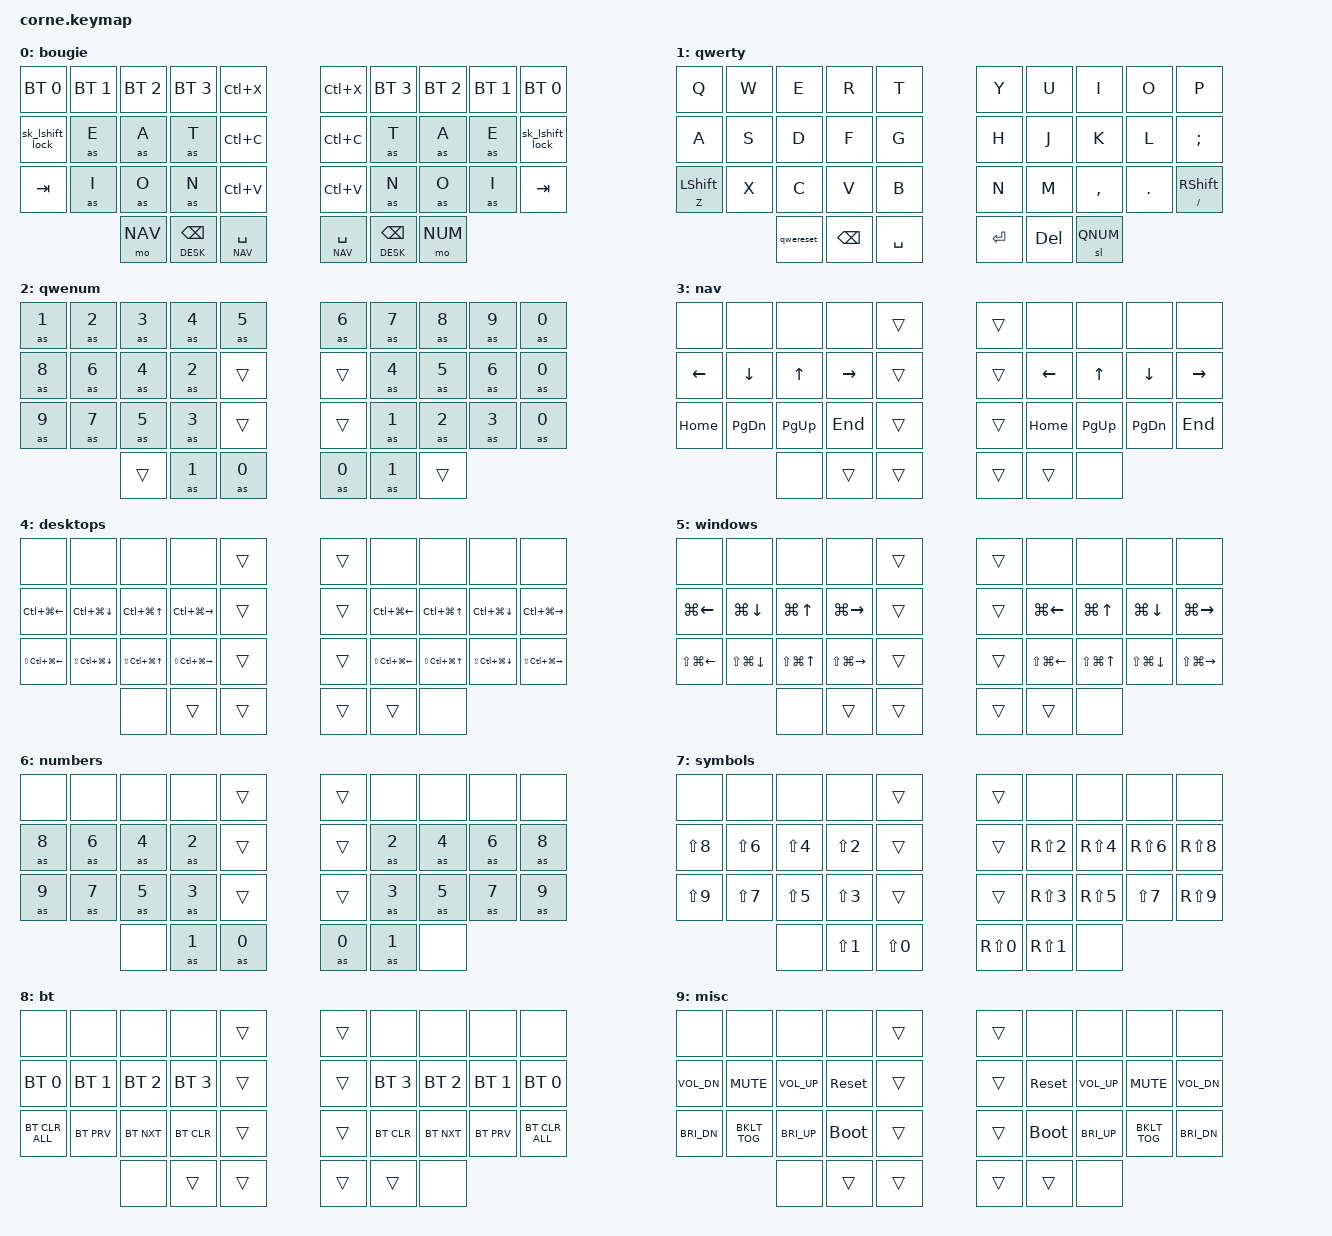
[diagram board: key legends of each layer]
/*

    Copyright (c) 2020 The ZMK Contributors

    SPDX-License-Identifier: MIT
    TODO: soft_off wake behavior
    */

#include <behaviors.dtsi>
#include <dt-bindings/zmk/bt.h>
#include <dt-bindings/zmk/keys.h>
#include <dt-bindings/zmk/pointing.h>

// NOT BOUGIE KEYS
// LEFT SIDE
#define LB0 0
#define LB1 1
#define LB2 2
#define LB3 3
#define LCX 4
#define LCC 14
#define LCV 24
// RIGHT SIDE
#define RB0 9
#define RB1 8
#define RB2 7
#define RB3 6
#define RCX 5
#define RCC 15
#define RCV 25

// BOUGIE KEYS
// LEFT SIDE
#define TLP 10
#define TLR 11
#define TLM 12
#define TLI 13
#define BLP 20
#define BLR 21
#define BLM 22
#define BLI 23
#define LOT 32
#define LIT 31

// RIGHT SIDE
#define TRP 19
#define TRR 18
#define TRM 17
#define TRI 16
#define BRP 29
#define BRR 28
#define BRM 27
#define BRI 26
#define ROT 33
#define RIT 34

// LAYERS
#define DEF  0
#define QWE  1
#define QNUM 2
#define NAV  3
#define DESK 4
#define WIN  5
#define NUM  6
#define SYM  7
#define BT   8
#define MISC 9

// CONFIG
#define COMBO_TIMEOUT 70
#define COMBO_LAYERS DEF NAV NUM DESK WIN SYM BT MISC
#define STICKY_TIMEOUT 1000
#define HOLD_TAP_TIMEOUT 190

// BEHAVIOR REDEFINITIONS

&sk {
    release-after-ms = <STICKY_TIMEOUT>;
    quick-release;
    /delete-property/ ignore-modifiers;
};

&sl {
    release-after-ms = <STICKY_TIMEOUT>;
    quick-release;
    /delete-property/ ignore-modifiers;
};

&lt {
    #binding-cells = <2>;
    bindings = <&mo>, <&kp>;
    tapping-term-ms = <HOLD_TAP_TIMEOUT>;
    quick-tap-ms = <HOLD_TAP_TIMEOUT>;
    hold-while-undecided;
};
// MAIN NODE

/ {
    chosen { zmk,matrix_transform = &five_column_transform; };

    combos {
        compatible = "zmk,combos";

#define LOCOMBO(NAME, BINDINGS, KEYPOS) \
combo_l_##NAME { \
	timeout-ms = <COMBO_TIMEOUT>; \
	bindings = <BINDINGS>; \
	key-positions = <KEYPOS>; \
	layers = <COMBO_LAYERS>; \
}; \

#define LTCOMBO(NAME, OUTER_BINDINGS, INNER_BINDINGS, BOTH_BINDINGS, KEYPOS) \
combo_li_##NAME { \
	timeout-ms = <COMBO_TIMEOUT>; \
	bindings = <INNER_BINDINGS>; \
	key-positions = <KEYPOS LIT>; \
	layers = <COMBO_LAYERS>; \
}; \
combo_lo_##NAME { \
	timeout-ms = <COMBO_TIMEOUT>; \
	bindings = <OUTER_BINDINGS>; \
	key-positions = <KEYPOS LOT>; \
	layers = <COMBO_LAYERS>; \
}; \
combo_lb_##NAME { \
	timeout-ms = <COMBO_TIMEOUT>; \
	bindings = <BOTH_BINDINGS>; \
	key-positions = <KEYPOS LIT LOT>; \
	layers = <COMBO_LAYERS>; \
};

#define ROCOMBO(NAME, BINDINGS, KEYPOS) \
combo_r_##NAME { \
	timeout-ms = <COMBO_TIMEOUT>; \
	bindings = <BINDINGS>; \
	key-positions = <KEYPOS>; \
	layers = <COMBO_LAYERS>; \
}; \

#define RTCOMBO(NAME, OUTER_BINDINGS, INNER_BINDINGS, BOTH_BINDINGS, KEYPOS) \
combo_ri_##NAME { \
	timeout-ms = <COMBO_TIMEOUT>; \
	bindings = <INNER_BINDINGS>; \
	key-positions = <KEYPOS RIT>; \
	layers = <COMBO_LAYERS>; \
}; \
combo_ro_##NAME { \
	timeout-ms = <COMBO_TIMEOUT>; \
	bindings = <OUTER_BINDINGS>; \
	key-positions = <KEYPOS ROT>; \
	layers = <COMBO_LAYERS>; \
}; \
combo_rb_##NAME { \
	timeout-ms = <COMBO_TIMEOUT>; \
	bindings = <BOTH_BINDINGS>; \
	key-positions = <KEYPOS RIT ROT>; \
	layers = <COMBO_LAYERS>; \
};

#define TCOMBO(NAME, OUTER_BINDINGS, INNER_BINDINGS, BOTH_BINDINGS, LEFT_KEYPOS, RIGHT_KEYPOS) \
LTCOMBO(##NAME, ##OUTER_BINDINGS, ##INNER_BINDINGS, ##BOTH_BINDINGS, ##LEFT_KEYPOS) \
RTCOMBO(##NAME, ##OUTER_BINDINGS, ##INNER_BINDINGS, ##BOTH_BINDINGS, ##RIGHT_KEYPOS)

#define FCOMBO(NAME, BINDINGS, OUTER_BINDINGS, INNER_BINDINGS, BOTH_BINDINGS, LEFT_KEYPOS, RIGHT_KEYPOS) \
LOCOMBO(##NAME, ##BINDINGS, ##LEFT_KEYPOS) \
ROCOMBO(##NAME, ##BINDINGS, ##RIGHT_KEYPOS) \
TCOMBO(##NAME, ##OUTER_BINDINGS, ##INNER_BINDINGS, ##BOTH_BINDINGS, ##LEFT_KEYPOS, ##RIGHT_KEYPOS)

//** COMBOS **//
LTCOMBO(TP, &kp LEFT, &as N8, &as F8, TLP)
RTCOMBO(TP, &kp RIGHT, &as N8, &as F8, TRP)
TCOMBO(E, &kp DOWN, &as N6, &as F6, TLR, TRR)
TCOMBO(A, &kp UP, &as N4, &as F4, TLM, TRM)
LTCOMBO(T, &kp RIGHT, &as N2, &as F2, TLI)
RTCOMBO(T, &kp LEFT, &as N2, &as F2, TRI)
LTCOMBO(TAB, &kp END, &as N9, &as F9, BLP)
RTCOMBO(TAB, &kp HOME, &as N9, &as F9, BRP)
TCOMBO(I, &kp PG_DN, &as N7, &as F7, BLR, BRR)
TCOMBO(O, &kp PG_UP, &as N5, &as F5, BLM, BRM)
LTCOMBO(N, &kp HOME, &as N3, &as F3, BLI)
RTCOMBO(N, &kp END, &as N3, &as F3, BRI)
FCOMBO(RALT,       &sk_ralt_lock,      &kp GT,                &kp LT,                &bt BT_SEL 0,           TLP BLP,                           TRP BRP)
FCOMBO(LALT,       &sk_lalt_lock,      &kp RBRC,              &kp LBRC,              &bt BT_SEL 1,           TLR BLR,                           TRR BRR)
FCOMBO(LCTRL,      &sk_lctrl_lock,     &kp RBKT,              &kp LBKT,              &bt BT_SEL 2,           TLM BLM,                           TRM BRM)
FCOMBO(LMETA,      &sk_lmeta_lock,     &kp RPAR,              &kp LPAR,              &bt BT_SEL 3,           TLI BLI,                           TRI BRI)
FCOMBO(MOUSEL,     &mkp LCLK,          &none, 				  &none,                 &none,                  TLP TLI,                           TRP TRI)
FCOMBO(MOUSEM,     &mkp MCLK,          &none, 				  &none,                 &none,                  TLP TLM,                           TRP BRM)
FCOMBO(MOUSER,     &mkp RCLK,          &none, 				  &none,                 &none,                  TLP TLR,                           TRP TRM)
FCOMBO(H,          &as H,              &kp AMPS,              &kp PIPE,              &as F11,                TLR TLM,                           TRR TRM)
FCOMBO(S,          &as S,              &kp EQUAL,             &kp PLUS,              &as F9,                 TLR TLI,                           TRR TRI)
FCOMBO(R,          &as R,              &kp ASTERISK,          &as N0,                &as F10,                TLM TLI,                           TRM TRI)
FCOMBO(U,          &as U,              &kp AT,                &kp AT,                &as F15,                BLR BLM,                           BRR BRM)
FCOMBO(C,          &as C,              &caps_word,            &kp CAPS,              &as F14,                BLR BLI,                           BRR BRI)
FCOMBO(L,          &as L,              &kp CARET,             &kp N1,                &as F12,                BLM BLI,                           BRM BRI)
FCOMBO(Y,          &as Y,              &kp HASH,              &kp LS(RA(SEMI)),      &as F21,                TLR BLM,                           TRR BRM)
FCOMBO(G,          &as G,              &kp DOLLAR,            &kp RA(N5),            &as F18,                BLR TLM,                           BRR TRM)
FCOMBO(W,          &as W,              &kp PERCENT,           &kp RA(SEMI),          &as F20,                TLR BLI,                           TRR BRI)
FCOMBO(M,          &as M,              &kp SLASH,             &kp BSLH,              &as F16,                BLR TLI,                           BRR TRI)
FCOMBO(D,          &as D,              &kp PRINTSCREEN,       &kp LS(PRINTSCREEN),   &as F13,                TLM BLI,                           TRM BRI)
FCOMBO(F,          &as F,              &sk_lshift_lock,       &sk_lshift_lock,       &as F17,                BLM TLI,                           BRM TRI)
FCOMBO(APOS,       &kp APOS,           &kp DQT,               &kp GRAVE,             &tqt,                   TLR BLR TLM,                       TRR BRR TRM)
FCOMBO(COMMA,      &kp COMMA,          &kp QMARK,             &kp SEMI,              &kp RA(SLASH),          TLR BLR TLI,                       TRR BRM TRI)
FCOMBO(DASH,       &kp MINUS,          &kp UNDER,             &kp TILDE,             &kp LS(RA(SLASH)),      TLR BLR BLM,                       TRR BRR BRM)
FCOMBO(DOT,        &kp DOT,            &kp EXCL,              &kp COLON,             &kp RA(N8),             TLR BLR BLI,                       TRR BRM BRI)
FCOMBO(P,          &as P,              &kp PRINTSCREEN,       &kp LS(PRINTSCREEN),   &as F19,                TLM BLM TLR,                       TRM BRM TRR)
FCOMBO(B,          &as B,              &kp LG(W),             &kp LG(G),             &as F22,                TLM BLM BLR,                       TRM BRM BRR)
FCOMBO(Z,          &as Z,              &kp C_BRI_UP,          &kp C_BRI_DN,          &kp C_BKLT_TOG,         TLM BLM TLI,                       TRM BRM BRI)
FCOMBO(X,          &as X,              &kp C_VOL_UP,          &kp C_VOL_DN,          &kp C_MUTE,             TLM BLM BLI,                       TRM BRM TRI)
FCOMBO(Q,          &as Q,              &none,                 &none,                 &none,                  TLI BLI TLR,                       TRI BRI TRR)
FCOMBO(J,          &as J,              &kp C_NEXT,            &kp C_PREV,            &kp C_PP,               TLI BLI BLR,                       TRI BRI BRR)
FCOMBO(K,          &as K,              &kp LA(SPACE),         &kp LGUI,              &as F23,                TLI BLI TLM,                       TRI BRI TRM)
FCOMBO(V,          &as V,              &kp LC(LA(T)),         &none,                 &as F24,                TLI BLI BLM,                       TRI BRI BRM)
FCOMBO(BT,         &sl BT,             &bt BT_CLR,            &bt BT_CLR,            &bt BT_CLR_ALL,         TLR BLR TLM BLM,                   TRR BRR TRM BRM)
FCOMBO(NAVLOCK,    &sticky_navlock,           &none,                 &none,                 &none,                  TLR BLR TLI BLI,                   TRR BRR TRI BRI)
FCOMBO(NUMLOCK,    &sticky_numlock,           &sk_lshift_lock,       &none,                 &none,                  TLM BLM TLI BLI,                   TRM BRM TRI BRI)
FCOMBO(RET,        &kp RET,            &kp LS(RET),           &kp LS(RET),           &kp LS(RET),            TLR TLM TLI,                       TRR TRM TRI)
FCOMBO(PASTE,      &kp LC(V),          &kp LS(LC(V)),         &none,                 &none,                  TLR TLM BLI,                       TRR TRM BRI)
FCOMBO(COPY,       &kp LC(C),          &kp LS(LC(C)),         &none,                 &none,                  TLR BLM TLI,                       TRR BRM TRI)
FCOMBO(CUT,        &kp LC(X),          &kp LS(LC(X)),         &none,                 &none,                  BLR TLM TLI,                       BRR TRM TRI)
FCOMBO(UNDO,       &kp LC(Z),          &kp LS(LC(Z)),         &none,                 &none,                  TLR BLM BLI,                       TRR BRM BRI)
FCOMBO(SAVE,       &kp LC(S),          &kp LG(G),             &kp LG(W),             &kp LS(LC(S)),          BLR TLM BLI,                       BRR TRM BRI)
FCOMBO(REDO,       &kp LS(LC(Z)),      &kp LC(Z),             &none,                 &none,                  BLR BLM TLI,                       BRR BRM TLI)
FCOMBO(ESC,        &kp ESC,            &none,                 &none,                 &kp LG(L),              BLR BLM BLI,                       BRR BRM BRI)
FCOMBO(MISC,       &sl MISC,           &none,                 &none,                 &none,                  TLR BLR TLM BLM TLI BLI,           TRR BRR TRM BRM TRI BRI)

    };

    behaviors {
        sticky_numlock: sticky_numlock {
            compatible = "zmk,behavior-tap-dance";
            #binding-cells = <0>;
            bindings = <&sl NUM>, <&tog NUM>;
        };

        sticky_navlock: sticky_navlock {
            compatible = "zmk,behavior-tap-dance";
            #binding-cells = <0>;
            bindings = <&sl NAV>, <&tog NAV>;
        };

        sticky_lshift: sticky_lshift {
            compatible = "zmk,behavior-tap-dance";
            #binding-cells = <0>;
            bindings = <&sk LSHIFT>, <&kt LSHIFT>;
        };

        sticky_lctrl: sticky_lctrl {
            compatible = "zmk,behavior-tap-dance";
            #binding-cells = <0>;
            bindings = <&sk LCTRL>, <&kt LCTRL>;
        };

        sticky_lmeta: sticky_lmeta {
            compatible = "zmk,behavior-tap-dance";
            #binding-cells = <0>;
            bindings = <&sk LMETA>, <&kt LMETA>;
        };

        sticky_lalt: sticky_lalt {
            compatible = "zmk,behavior-tap-dance";
            #binding-cells = <0>;
            bindings = <&sk LEFT_ALT>, <&kt LEFT_ALT>;
        };

        sticky_ralt: sticky_ralt {
            compatible = "zmk,behavior-tap-dance";
            #binding-cells = <0>;
            bindings = <&sk RIGHT_ALT>, <&kt RIGHT_ALT>;
        };

        sk_ralt_lock: sk_ralt_lock {
            compatible = "zmk,behavior-mod-morph";
            #binding-cells = <0>;
            bindings = <&sticky_ralt>, <&kt RIGHT_ALT>;

            mods = <(MOD_RALT)>;
        };

        sk_lalt_lock: sk_lalt_lock {
            compatible = "zmk,behavior-mod-morph";
            bindings = <&sticky_lalt>, <&kt LEFT_ALT>;

            #binding-cells = <0>;
            mods = <(MOD_LALT)>;
        };

        sk_lmeta_lock: sk_lmeta_lock {
            compatible = "zmk,behavior-mod-morph";
            bindings = <&sticky_lmeta>, <&kt LMETA>;

            #binding-cells = <0>;
            mods = <(MOD_LGUI)>;
        };

        sk_lctrl_lock: sk_lctrl_lock {
            compatible = "zmk,behavior-mod-morph";
            bindings = <&sticky_lctrl>, <&kt LCTRL>;

            #binding-cells = <0>;
            mods = <(MOD_LCTL)>;
        };

        sk_lshift_lock: sk_lshift_lock {
            compatible = "zmk,behavior-mod-morph";
            bindings = <&sticky_lshift>, <&kt LSHIFT>;

            #binding-cells = <0>;
            mods = <(MOD_LSFT)>;
        };

        as_ht: autoshift_hold_tap {
            compatible = "zmk,behavior-hold-tap";
            bindings = <&shift>, <&kp>;

            #binding-cells = <2>;
            tapping-term-ms = <HOLD_TAP_TIMEOUT>;
        };

        ralt_i_cut: ralt_i_cut {
            compatible = "zmk,behavior-mod-morph";
            bindings = <&as I>, <&kp LC(X)>;

            #binding-cells = <0>;
            mods = <(MOD_RALT)>;
            keep-mods = <(MOD_LCTL)>;
        };

        ralt_o_copy: ralt_o_copy {
            compatible = "zmk,behavior-mod-morph";
            bindings = <&as O>, <&kp LC(C)>;

            #binding-cells = <0>;
            mods = <(MOD_RALT)>;
            keep-mods = <(MOD_LCTL)>;
        };

        ralt_n_paste: ralt_n_paste {
            compatible = "zmk,behavior-mod-morph";
            bindings = <&as N>, <&kp LC(V)>;

            #binding-cells = <0>;
            mods = <(MOD_RALT)>;
            keep-mods = <(MOD_LCTL)>;
        };
        
        ltshift: ltshift {
            compatible = "zmk,behavior-hold-tap";
            bindings = <&mo>, <&sk_lshift_lock>;
        
            #binding-cells = <2>;
            tapping-term-ms = <HOLD_TAP_TIMEOUT>;
        };

        tabdance: tabdance {
            compatible = "zmk,behavior-tap-dance";
            #binding-cells = <0>;
            bindings = <&kp TAB>, <&kp TAB>, <&kp TAB>, <&sys_reset>, <&kp TAB>, <&bootloader>;
        };

        qwereset: qwereset {
            compatible = "zmk,behavior-tap-dance";
            #binding-cells = <0>;
            bindings = <&tog QWE>, <&none>, <&none>, <&sys_reset>, <&none>, <&bootloader>;
        };

    };

    macros {
        tqt: tqt {
            compatible = "zmk,behavior-macro";
            #binding-cells = <0>;
            bindings =
                <&macro_tap>,
                <&kp APOS>,
                <&kp APOS>,
                <&kp APOS>;
        };

        shift: shift {
            compatible = "zmk,behavior-macro-one-param";
            #binding-cells = <1>;
            bindings =
                <&macro_press>,
                <&kp LSHIFT>,
                <&macro_tap>,
                <&macro_param_1to1 &kp MACRO_PLACEHOLDER>,
                <&macro_release>,
                <&kp LSHIFT>;
        };

        as: as {
            compatible = "zmk,behavior-macro-one-param";
            #binding-cells = <1>;
            bindings =
                <&macro_press>,
                <&macro_param_1to1 &macro_param_1to2 &as_ht MACRO_PLACEHOLDER MACRO_PLACEHOLDER>,
                <&macro_pause_for_release>,
                <&macro_release>,
                <&macro_param_1to1 &macro_param_1to2 &as_ht MACRO_PLACEHOLDER MACRO_PLACEHOLDER>;
        };
    };

    keymap {
        compatible = "zmk,keymap";

        bougie {
            bindings = <
  &bt BT_SEL 0    &bt BT_SEL 1  &bt BT_SEL 2  &bt BT_SEL 3   &kp LC(X)      &kp LC(X)    &bt BT_SEL 3   &bt BT_SEL 2  &bt BT_SEL 1  &bt BT_SEL 0
  &sk_lshift_lock &as E         &as A         &as T          &kp LC(C)      &kp LC(C)    &as T          &as A         &as E         &sk_lshift_lock
  &kp TAB         &as I         &as O         &as N          &kp LC(V)      &kp LC(V)    &as N          &as O         &as I         &kp TAB
                                &mo NAV       &lt DESK BSPC  &lt NAV SPC    &lt NAV SPC  &lt DESK BSPC  &mo NUM
            >;
        };

        qwerty {
            bindings = <
  &kp Q         &kp W  &kp E     &kp R     &kp T            &kp Y    &kp U       &kp I      &kp O    &kp P
  &kp A         &kp S  &kp D     &kp F     &kp G            &kp H    &kp J       &kp K      &kp L    &kp SEMI
  &mt Z LSHIFT  &kp X  &kp C     &kp V     &kp B            &kp N    &kp M       &kp COMMA  &kp DOT  &mt FSLH RSHIFT
                       &qwereset &kp BSPC  &kp SPACE        &kp RET  &kp DELETE  &sl QNUM
            >;
        };

        qwenum {
            bindings = <
  &as N1  &as N2  &as N3  &as N4  &as N5    &as N6  &as N7  &as N8  &as N9  &as N0
  &as N8  &as N6  &as N4  &as N2  &trans    &trans  &as N4  &as N5  &as N6  &as N0
  &as N9  &as N7  &as N5  &as N3  &trans    &trans  &as N1  &as N2  &as N3  &as N0
                  &trans  &as N1  &as N0    &as N0  &as N1  &trans
            >;
        };
    

        nav {
            bindings = <
  &none     &none     &none      &none      &trans    &trans  &none     &none      &none      &none
  &kp LEFT  &kp DOWN  &kp UP     &kp RIGHT  &trans    &trans  &kp LEFT  &kp UP     &kp DOWN   &kp RIGHT
  &kp HOME  &kp PG_DN &kp PG_UP  &kp END    &trans    &trans  &kp HOME  &kp PG_UP  &kp PG_DN  &kp END
                      &none      &trans     &trans    &trans  &trans    &none
            >;
        };

        desktops {
            bindings = <
  &none                &none                 &none                &none                  &trans    &trans  &none                  &none                &none                 &none
  &kp LC(LG(LEFT))     &kp LC(LG(DOWN))      &kp LC(LG(UP))       &kp LC(LG(RIGHT))      &trans    &trans  &kp LC(LG(LEFT))       &kp LC(LG(UP))       &kp LC(LG(DOWN))      &kp LC(LG(RIGHT))
  &kp LS(LC(LG(LEFT))) &kp LS(LC(LG(DOWN)))  &kp LS(LC(LG(UP)))   &kp LS(LC(LG(RIGHT)))  &trans    &trans  &kp LS(LC(LG(LEFT)))   &kp LS(LC(LG(UP)))   &kp LS(LC(LG(DOWN)))  &kp LS(LC(LG(RIGHT)))
                                             &none                &trans                 &trans    &trans  &trans                 &none
            >;
        };

        windows {
            bindings = <
  &none             &none             &none           &none              &trans    &trans  &none             &none           &none             &none
  &kp LG(LEFT)      &kp LG(DOWN)      &kp LG(UP)      &kp LG(RIGHT)      &trans    &trans  &kp LG(LEFT)      &kp LG(UP)      &kp LG(DOWN)      &kp LG(RIGHT)
  &kp LS(LG(LEFT))  &kp LS(LG(DOWN))  &kp LS(LG(UP))  &kp LS(LG(RIGHT))  &trans    &trans  &kp LS(LG(LEFT))  &kp LS(LG(UP))  &kp LS(LG(DOWN))  &kp LS(LG(RIGHT))
                                      &none           &trans             &trans    &trans  &trans            &none
            >;
        };
        numbers {
            bindings = <
  &none   &none   &none   &none   &trans    &trans  &none   &none   &none   &none
  &as N8  &as N6  &as N4  &as N2  &trans    &trans  &as N2  &as N4  &as N6  &as N8
  &as N9  &as N7  &as N5  &as N3  &trans    &trans  &as N3  &as N5  &as N7  &as N9
                  &none   &as N1  &as N0    &as N0  &as N1  &none
            >;
        };

        symbols {
            bindings = <
  &none       &none       &none       &none       &trans        &trans      &none       &none       &none       &none
  &kp LS(N8)  &kp LS(N6)  &kp LS(N4)  &kp LS(N2)  &trans        &trans      &kp RS(N2)  &kp RS(N4)  &kp RS(N6)  &kp RS(N8)
  &kp LS(N9)  &kp LS(N7)  &kp LS(N5)  &kp LS(N3)  &trans        &trans      &kp RS(N3)  &kp RS(N5)  &kp LS(N7)  &kp RS(N9)
                          &none       &kp LS(N1)  &kp LS(N0)    &kp RS(N0)  &kp RS(N1)  &none
            >;
        };

        bt {
            bindings = <
  &none           &none         &none         &none         &trans    &trans  &none         &none         &none         &none
  &bt BT_SEL 0    &bt BT_SEL 1  &bt BT_SEL 2  &bt BT_SEL 3  &trans    &trans  &bt BT_SEL 3  &bt BT_SEL 2  &bt BT_SEL 1  &bt BT_SEL 0
  &bt BT_CLR_ALL  &bt BT_PRV    &bt BT_NXT    &bt BT_CLR    &trans    &trans  &bt BT_CLR    &bt BT_NXT    &bt BT_PRV    &bt BT_CLR_ALL
                                &none         &trans        &trans    &trans  &trans        &none
            >;
        };

        misc {
            bindings = <
  &none           &none          &none         &none         &trans    &trans  &none         &none         &none          &none
  &kp C_VOL_DN    &kp C_MUTE     &kp C_VOL_UP  &sys_reset    &trans    &trans  &sys_reset    &kp C_VOL_UP  &kp C_MUTE     &kp C_VOL_DN
  &kp C_BRI_DN    &kp C_BKLT_TOG &kp C_BRI_UP  &bootloader   &trans    &trans  &bootloader   &kp C_BRI_UP  &kp C_BKLT_TOG &kp C_BRI_DN
                                 &none         &trans        &trans    &trans  &trans        &none
            >;
        };

    conditional_layers {
        compatible = "zmk,conditional-layers";
        WIN {
            if-layers = <NAV DESK>;
            then-layer = <WIN>;
        };
    };


    };
};
